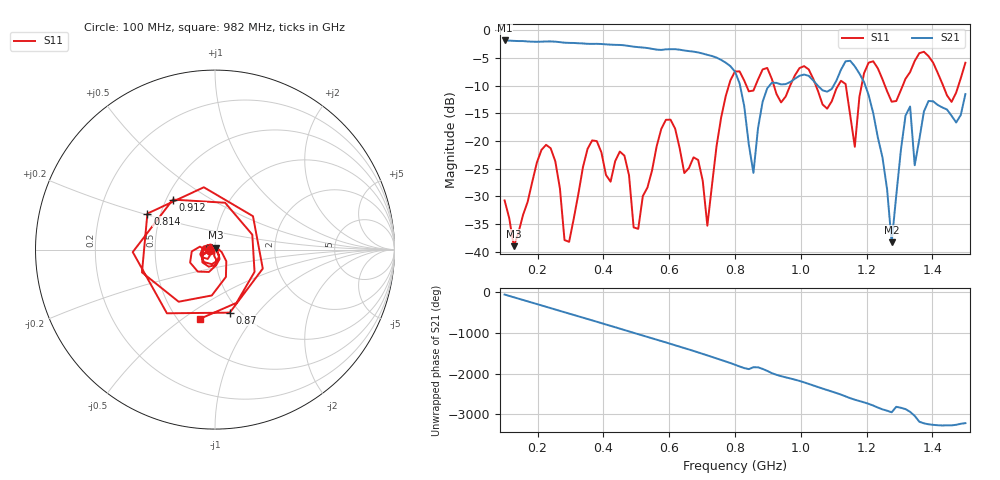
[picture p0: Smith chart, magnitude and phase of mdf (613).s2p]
! NanoVNA-App
! Date: 2025-09-25 15:43:11
! Start: 100MHz Stop: 1,5GHz Points: 101
! S-Parameter data: F S11 S21 S12 S22
# Hz S RI R 50
!  Frequency  S11_Real  S11_Imag  S21_Real  S21_Imag  S12_Real  S12_Imag  S22_Real  S22_Imag
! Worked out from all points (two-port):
!   101 points, 100 MHz to 1.5 GHz, reference 50 ohm
!   highest |S21| = -1.80 dB at 100 MHz (marker M1); lowest = -38.3 dB at 1.276 GHz (marker M2)
!   |S21| within 3 dB of the highest: start of sweep to 739.1 MHz
!   lowest |S11| = -39.0 dB at 128 MHz (marker M3), VSWR 1.02, Z = 50.3 + j1.08 ohm
!   |S11| at or under -10 dB: start of sweep to 781.1 MHz; 1.046 GHz to 1.113 GHz (67.06 MHz wide, 6.21 % of centre); 1.256 GHz to 1.309 GHz (53.64 MHz wide, 4.18 % of centre) (the widest 3 of 7)
!   S12 and S22 are empty: the file has one direction only
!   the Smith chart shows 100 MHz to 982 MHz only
!   S11 on the Smith chart (normalised r, x): 100 MHz: 0.94, -0.01; 814 MHz: 0.42, +0.21; 870 MHz: 0.90, -0.73; 912 MHz: 0.54, +0.35; 982 MHz: 0.64, -0.58
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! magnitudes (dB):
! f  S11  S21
! 100 MHz  -30.7  -1.8
! 128 MHz  -39.0  -1.9
! 212 MHz  -21.6  -2.0
! 282 MHz  -37.9  -2.2
! 338 MHz  -24.7  -2.3
! 464 MHz  -22.6  -2.7
! 506 MHz  -35.9  -3.0
! 576 MHz  -17.8  -3.5
! 716 MHz  -35.3  -4.4
! 800 MHz  -7.4  -7.4
! 814 MHz  -7.4  -9.6
! 856 MHz  -10.9  -25.8
! 870 MHz  -8.9  -17.6
! 912 MHz  -8.8  -9.4
! 982 MHz  -8.1  -8.7
! 1.038 GHz  -8.8  -9.0
! 1.164 GHz  -21.0  -6.5
! 1.192 GHz  -7.7  -9.3
! 1.276 GHz  -12.9  -38.3
! 1.318 GHz  -8.7  -15.4
! 1.346 GHz  -5.5  -24.4
! 1.5 GHz  -5.8  -11.5
